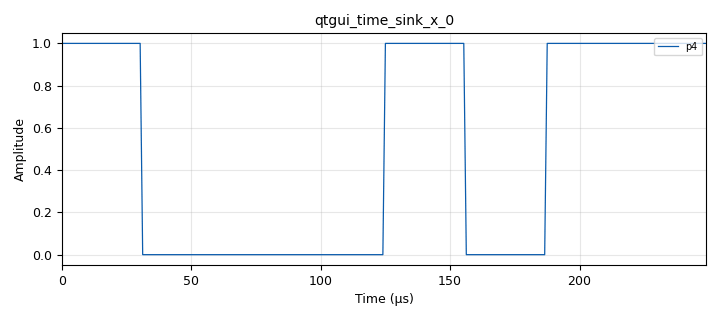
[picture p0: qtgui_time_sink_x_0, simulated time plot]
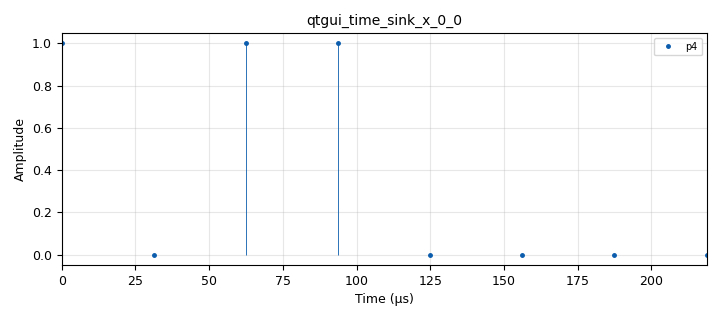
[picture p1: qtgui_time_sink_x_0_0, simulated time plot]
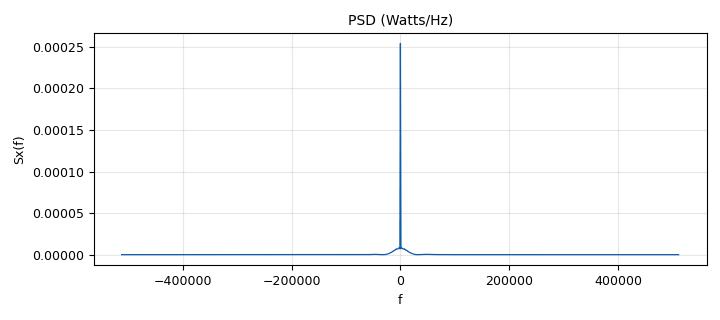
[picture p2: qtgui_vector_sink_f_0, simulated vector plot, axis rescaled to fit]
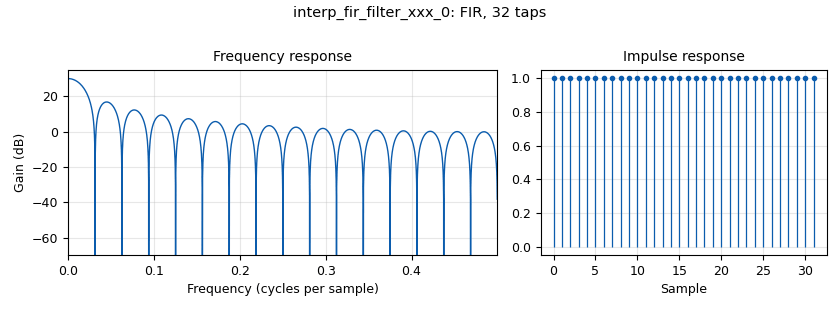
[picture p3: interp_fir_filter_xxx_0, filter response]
options:
  parameters:
    author: radiogis_director
    generate_options: qt_gui
    id: signalmult
    output_language: python
    title: signalmult
  states: {}

blocks:
- name: N
  id: variable
  parameters:
    value: '1024'
  states: {}
- name: Rb
  id: variable
  parameters:
    value: '32000'
  states: {}
- name: Sps
  id: variable
  parameters:
    value: '32'
  states: {}
- name: f
  id: variable
  parameters:
    value: Rb*k
  states: {}
- name: h
  id: variable
  parameters:
    value: '[1]*Sps'
  states: {}
- name: k
  id: variable
  parameters:
    value: '4'
  states: {}
- name: samp_rate
  id: variable
  parameters:
    value: Rb*Sps
  states: {}
- name: Menu
  id: qtgui_tab_widget
  parameters:
    label0: Time
    label1: Freq
    num_tabs: '2'
  states: {}
- name: VCO_hob
  id: epy_block
  parameters:
    _source_code: |
      import math
      import numpy as np
      from gnuradio import gr

      class blk(gr.sync_block):
          """genera una senoidad cuyos parametros pueden ser manipulados por las senales entrantes asi: la primera senal manipula la amplitud; la segunda la frecuencia; la tercera la fase"""
          def __init__(self, f=128000):  # only default arguments here
              gr.sync_block.__init__(
                  self,
                  name='VCO_hob',   # will show up in GRC
                  in_sig=[np.float32, np.float32],
                  out_sig=[np.float32]
              )
              self.n_m=0 # guarda el ultimo valor de n
              self.f=f

          def work(self, input_items, output_items):
              A=input_items[0]
              P=input_items[1]
              y=output_items[0]
              N=len(A)
              n=np.linspace(self.n_m, self.n_m+N-1,N)
              self.n_m += N
              y[:]=A*np.cos(2*math.pi*self.f*n+P)
              return len(y)
    f: f
  states: {}
- name: analog_random_source_x_0
  id: analog_random_source_x
  parameters:
    max: '2'
    min: '0'
    num_samps: '1000000'
    repeat: 'True'
    type: byte
  states: {}
- name: analog_sig_source_x_0
  id: analog_sig_source_x
  parameters:
    amp: '1'
    freq: f
    offset: '0'
    phase: '0'
    samp_rate: samp_rate
    type: float
    waveform: analog.GR_COS_WAVE
  states: {state: disabled}
- name: blocks_char_to_float_0
  id: blocks_char_to_float
  parameters:
    scale: '1'
  states: {}
- name: blocks_complex_to_mag_squared_0
  id: blocks_complex_to_mag_squared
  parameters:
    vlen: N
  states: {}
- name: blocks_multiply_const_vxx_1
  id: blocks_multiply_const_vxx
  parameters:
    const: '[1/(N*samp_rate)]*N'
    type: float
    vlen: N
  states: {}
- name: blocks_multiply_xx_0
  id: blocks_multiply_xx
  parameters:
    type: float
  states: {state: disabled}
- name: blocks_null_source_0
  id: blocks_null_source
  parameters:
    type: float
  states: {}
- name: blocks_stream_to_vector_0
  id: blocks_stream_to_vector
  parameters:
    num_items: N
    type: float
  states: {}
- name: epy_block_0
  id: epy_block
  parameters:
    N: N
    _source_code: |
      import numpy as np
      from gnuradio import gr


      class blk(gr.sync_block):  
          """vector averager. N is the lengh of the vector"""

          def __init__(self, N=1024):
              gr.sync_block.__init__(
                  self,
                  name='e_vec_averager_ff',   
                  in_sig=[(np.float32,N)],
                  out_sig=[(np.float32,N)]
              )
              self.N = N
              self.rows_counter=0
              self.sum=0

          def work(self, input_items, output_items):
              x=input_items[0]
              y=output_items[0]
              self.sum += np.sum(x, axis=0)
              self.rows_counter += len(x)
              y[:]=self.sum/self.rows_counter
              return len(output_items[0])
  states: {}
- name: fft_vxx_0
  id: fft_vxx
  parameters:
    fft_size: N
    forward: 'True'
    shift: 'True'
    type: float
    window: '[1]*N'
  states: {}
- name: import_0
  id: import
  parameters:
    imports: import numpy as np
  states: {}
- name: interp_fir_filter_xxx_0
  id: interp_fir_filter_xxx
  parameters:
    interp: Sps
    taps: h
    type: fff
  states: {}
- name: note_0
  id: note
  parameters:
    note: INSTRUMENTOS
  states: {}
- name: qtgui_time_sink_x_0
  id: qtgui_time_sink_x
  parameters:
    autoscale: 'True'
    gui_hint: Menu@0:2,0,1,1
    label1: p4
    size: 8*Sps
    srate: samp_rate
    type: float
    width1: '3'
    ymax: '1.50'
    ymin: '-1.50'
  states: {}
- name: qtgui_time_sink_x_0_0
  id: qtgui_time_sink_x
  parameters:
    autoscale: 'True'
    gui_hint: Menu@0:1,0,1,1
    label1: p4
    marker1: '0'
    size: '8'
    srate: Rb
    stemplot: 'True'
    type: float
    width1: '3'
    ymax: '1.50'
    ymin: '-1.50'
  states: {}
- name: qtgui_vector_sink_f_0
  id: qtgui_vector_sink_f
  parameters:
    gui_hint: Menu@1:3,0,1,2
    label1: p4
    name: '"PSD (Watts/Hz)"'
    vlen: N
    width1: '3'
    x_axis_label: '"f"'
    x_start: '-samp_rate/2'
    x_step: samp_rate/N
    x_units: '"Hz"'
    y_axis_label: '"Sx(f)"'
    y_units: '"Watss/Hz"'
    ymax: 1/Rb
    ymin: '0'
  states: {}
- name: virtual_sink_0_1_0
  id: virtual_sink
  parameters:
    stream_id: p4
  states: {}
- name: virtual_sink_0_1_0_0_0
  id: virtual_sink
  parameters:
    stream_id: p2
  states: {}
- name: virtual_source_0
  id: virtual_source
  parameters:
    stream_id: p4
  states: {}
- name: virtual_source_0_0
  id: virtual_source
  parameters:
    stream_id: p2
  states: {}

connections:
- [VCO_hob, '0', virtual_sink_0_1_0, '0']
- [analog_random_source_x_0, '0', blocks_char_to_float_0, '0']
- [analog_sig_source_x_0, '0', blocks_multiply_xx_0, '1']
- [blocks_char_to_float_0, '0', interp_fir_filter_xxx_0, '0']
- [blocks_char_to_float_0, '0', virtual_sink_0_1_0_0_0, '0']
- [blocks_complex_to_mag_squared_0, '0', epy_block_0, '0']
- [blocks_multiply_const_vxx_1, '0', qtgui_vector_sink_f_0, '0']
- [blocks_multiply_xx_0, '0', virtual_sink_0_1_0, '0']
- [blocks_null_source_0, '0', VCO_hob, '1']
- [blocks_stream_to_vector_0, '0', fft_vxx_0, '0']
- [epy_block_0, '0', blocks_multiply_const_vxx_1, '0']
- [fft_vxx_0, '0', blocks_complex_to_mag_squared_0, '0']
- [interp_fir_filter_xxx_0, '0', VCO_hob, '0']
- [interp_fir_filter_xxx_0, '0', blocks_multiply_xx_0, '0']
- [virtual_source_0, '0', blocks_stream_to_vector_0, '0']
- [virtual_source_0, '0', qtgui_time_sink_x_0, '0']
- [virtual_source_0_0, '0', qtgui_time_sink_x_0_0, '0']

metadata:
  file_format: 1
